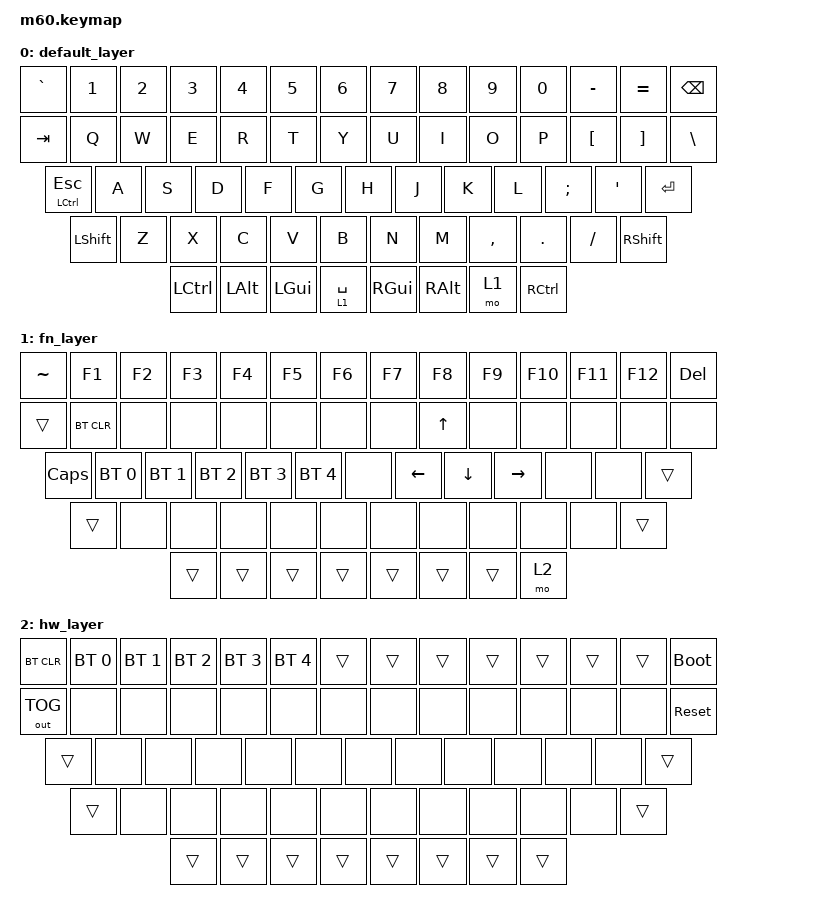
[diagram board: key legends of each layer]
/*
 * Copyright (c) 2020 The ZMK Contributors
 *
 * SPDX-License-Identifier: MIT
 */

#include <behaviors.dtsi>
#include <dt-bindings/zmk/keys.h>
#include <dt-bindings/zmk/bt.h>
#include <dt-bindings/zmk/outputs.h>

&lt {
    quick_tap_ms = <200>;
};

/ {
	keymap0: keymap {
		compatible = "zmk,keymap";

		default_layer {
// ------------------------------------------------------------------------------------------
// | `   |  1  |  2  |  3  |  4  |  5  |  6  |  7  |  8  |  9  |  0  |  -  |  =  |   BKSP   |
// | TAB  |  Q  |  W  |  E  |  R  |  T  |  Y  |  U  |  I  |  O  |  P  |  [  |  ]  |    \    |
// | CAPS  |  A  |  S  |  D  |  F  |  G  |  H  |  J  |  K  |  L  |  ;  |  '  |     ENTER    |
// |  SHIFT  |  Z  |  X  |  C  |  V  |  B  |  N  |  M  |  ,  |  .  |  /  |      SHIFT       |
// |  CTL  |  ALT  |  WIN  |            SPACE               | WIN  | ALT  | MO(1) | CTRL    |
// ------------------------------------------------------------------------------------------
			bindings = <
	&kp GRAVE &kp N1 &kp N2 &kp N3 &kp N4 &kp N5 &kp N6 &kp N7 &kp   N8  &kp  N9 &kp  N0  &kp MINUS &kp EQUAL &kp BSPC
	&kp TAB  &kp Q  &kp W  &kp E  &kp R  &kp T  &kp Y  &kp U  &kp   I   &kp  O  &kp   P  &kp LBKT &kp RBKT  &kp BSLH
	&mt LCTRL ESC &kp A  &kp S  &kp D  &kp F  &kp G  &kp H  &kp J  &kp   K   &kp  L  &kp SEMI &kp SQT           &kp RET
	&kp LSHFT  &kp Z  &kp X  &kp C  &kp V  &kp B  &kp N  &kp M  &kp COMMA &kp DOT &kp FSLH         &kp RSHFT
	&kp LCTRL &kp LALT &kp LGUI               &lt 1 SPACE                 &kp  RGUI  &kp RALT  &mo 1  &kp  RCTRL
			>;
		};

		fn_layer {
			bindings = <
&kp TILDE &kp F1     &kp F2     &kp F3     &kp F4     &kp F5     &kp F6     &kp F7     &kp F8     &kp F9     &kp F10    &kp F11    &kp F12    &kp DEL
&trans         &bt BT_CLR &none      &none      &none      &none      &none      &none      &kp UP      &none      &none      &none      &none      &none
&kp CAPSLOCK     &bt BT_SEL 0 &bt BT_SEL 1 &bt BT_SEL 2 &bt BT_SEL 3 &bt BT_SEL 4 &none   &kp LEFT   &kp DOWN   &kp RIGHT   &none      &none      &trans
&trans                &none      &none      &none      &none      &none      &none      &none      &none      &none      &none      &trans
&trans       &trans       &trans       &trans                                                                     &trans     &trans     &trans     &mo 2
			>;
		};

		hw_layer {
			bindings = <
&bt BT_CLR  &bt BT_SEL 0  &bt BT_SEL 1  &bt BT_SEL 2  &bt BT_SEL 3  &bt BT_SEL 4  &trans   &trans     &trans     &trans     &trans    &trans    &trans    &bootloader
&out OUT_TOG   &none &none      &none      &none      &none      &none      &none      &none      &none      &none      &none      &none      &sys_reset
&trans           &none    &none   &none   &none   &none    &none   &none   &none   &none   &none      &none      &trans
&trans                &none      &none      &none      &none      &none      &none      &none      &none      &none      &none      &trans
&trans       &trans       &trans       &trans                                                                     &trans     &trans     &trans     &trans
			>;
		};
	};
};
